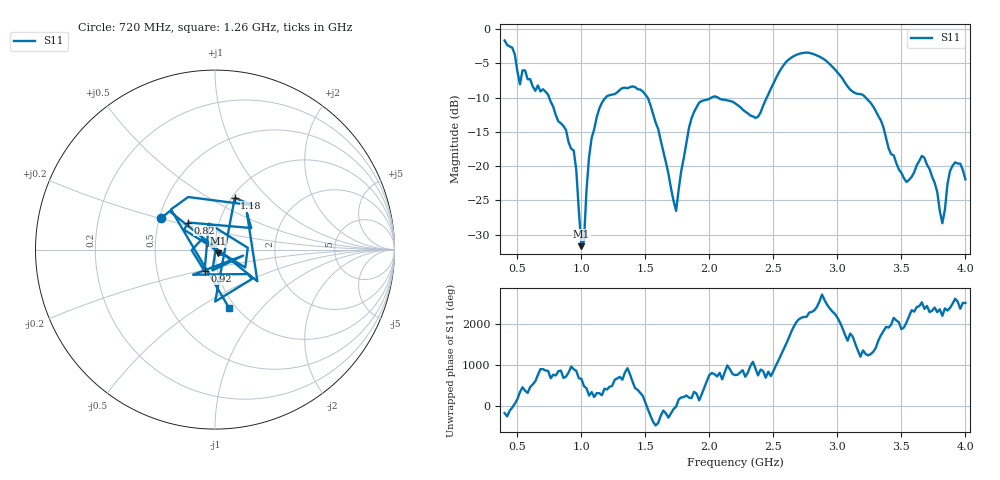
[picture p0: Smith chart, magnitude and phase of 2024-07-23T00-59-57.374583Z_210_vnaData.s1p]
!Created with skrf (http://scikit-rf.org).
# Hz S RI R 50.0
!freq ReS11 ImS11
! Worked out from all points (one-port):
!   181 points, 400 MHz to 4 GHz, reference 50 ohm
!   lowest |S11| = -31.7 dB at 1 GHz (marker M1), VSWR 1.05, Z = 51.6 - j2.1 ohm
!   |S11| at or under -10 dB: 748 MHz to 1.19 GHz (442.1 MHz wide, 45.6 % of centre); 1.516 GHz to 2.017 GHz (501.2 MHz wide, 28.4 % of centre); 3.22 GHz to end of sweep (the widest 3 of 4)
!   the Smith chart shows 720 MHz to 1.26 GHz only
!   S11 on the Smith chart (normalised r, x): 720 MHz: 0.51, +0.20; 820 MHz: 0.71, +0.22; 920 MHz: 0.87, -0.21; 1.18 GHz: 1.03, +0.66; 1.26 GHz: 0.93, -0.68
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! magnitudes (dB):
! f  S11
! 400 MHz  -1.7
! 520 MHz  -8.1
! 720 MHz  -9.2
! 820 MHz  -13.5
! 860 MHz  -14.2
! 920 MHz  -17.5
! 960 MHz  -20.6
! 1 GHz  -31.7
! 1.02 GHz  -30.9
! 1.08 GHz  -15.9
! 1.18 GHz  -10.2
! 1.26 GHz  -9.5
! 1.3 GHz  -8.9
! 1.52 GHz  -10.1
! 1.74 GHz  -26.5
! 1.76 GHz  -23.4
! 1.84 GHz  -14.5
! 1.92 GHz  -10.7
! 2.2 GHz  -10.8
! 2.38 GHz  -12.8
! 2.66 GHz  -4.0
! 3.1 GHz  -8.9
! 3.28 GHz  -11.3
! 3.56 GHz  -22.0
! 3.68 GHz  -18.8
! 3.82 GHz  -28.3
! 3.9 GHz  -19.9
! 4 GHz  -21.9
